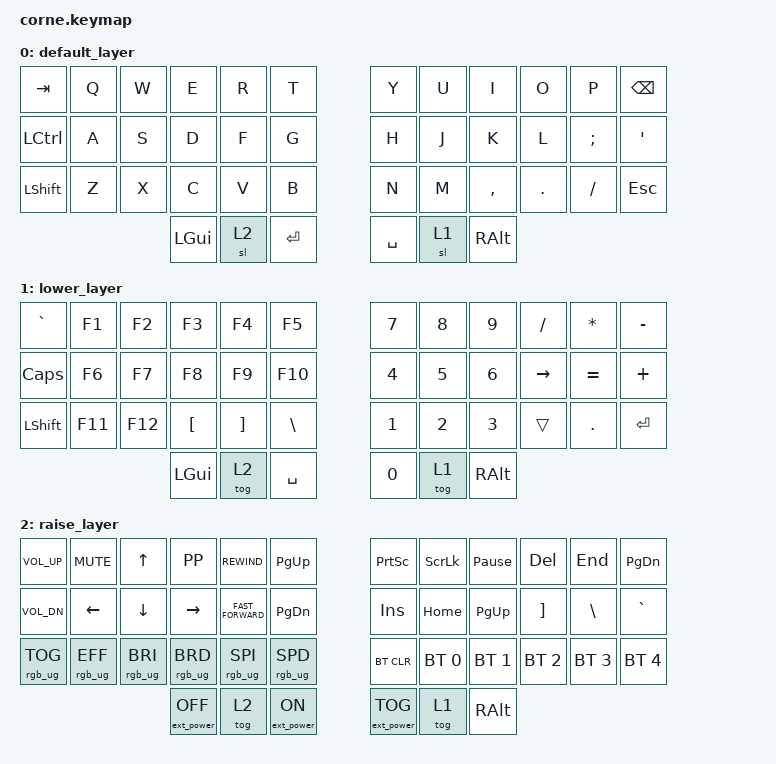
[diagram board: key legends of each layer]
/*
 * Copyright (c) 2020 The ZMK Contributors
 *
 * SPDX-License-Identifier: MIT
 */

#include <behaviors.dtsi>
#include <dt-bindings/zmk/bt.h>
#include <dt-bindings/zmk/ext_power.h>
#include <dt-bindings/zmk/keys.h>
#include <dt-bindings/zmk/rgb.h>

/ {
    behaviors {
        new_behavior: new_behavior {
            compatible = "zmk,behavior-mouse-move";
            label = "NEW_BEHAVIOR";
            #binding-cells = <1>;
            delay-ms = <2>;
            time-to-max-speed-ms = <2>;
            acceleration-exponent = <2>;
        };
    };

    keymap {
        compatible = "zmk,keymap";

        default_layer {
            // -----------------------------------------------------------------------------------------
            // |  TAB |  Q  |  W  |  E  |  R  |  T  |   |  Y  |  U   |  I  |  O  |  P  | BKSP |
            // | CTRL |  A  |  S  |  D  |  F  |  G  |   |  H  |  J   |  K  |  L  |  ;  |  '   |
            // | SHFT |  Z  |  X  |  C  |  V  |  B  |   |  N  |  M   |  ,  |  .  |  /  | ESC  |
            //                    | GUI | LWR | SPC |   | ENT | RSE  | ALT |

            bindings = <
&kp TAB    &kp Q  &kp W  &kp E     &kp R  &kp T        &kp Y      &kp U  &kp I      &kp O    &kp P     &kp BSPC
&kp LCTRL  &kp A  &kp S  &kp D     &kp F  &kp G        &kp H      &kp J  &kp K      &kp L    &kp SEMI  &kp SQT
&kp LSHFT  &kp Z  &kp X  &kp C     &kp V  &kp B        &kp N      &kp M  &kp COMMA  &kp DOT  &kp FSLH  &kp ESC
                         &kp LGUI  &sl 2  &kp ENTER    &kp SPACE  &sl 1  &kp RALT
            >;
        };

        lower_layer {
            // -----------------------------------------------------------------------------------------
            // |  TAB |  1  |  2  |  3  |  4  |  5  |   |  6  |  7  |  8  |  9  |  0  | BKSP |
            // | BTCLR| BT1 | BT2 | BT3 | BT4 | BT5 |   | LFT | DWN |  UP | RGT |     |      |
            // | SHFT |     |     |     |     |     |   |     |     |     |     |     |      |
            //                    | GUI |     | SPC |   | ENT |     | ALT |

            bindings = <
&kp GRAVE     &kp F1   &kp F2   &kp F3            &kp F4             &kp F5           &kp NUMBER_7  &kp NUMBER_8  &kp NUMBER_9  &kp SLASH  &kp ASTERISK  &kp MINUS
&kp CAPSLOCK  &kp F6   &kp F7   &kp F8            &kp F9             &kp F10          &kp NUMBER_4  &kp NUMBER_5  &kp NUMBER_6  &kp RIGHT  &kp EQUAL     &kp PLUS
&kp LSHFT     &kp F11  &kp F12  &kp LEFT_BRACKET  &kp RIGHT_BRACKET  &kp BACKSLASH    &kp NUMBER_1  &kp NUMBER_2  &kp NUMBER_3  &trans     &kp DOT       &kp ENTER
                                &kp LGUI          &tog 2             &kp SPACE        &kp NUMBER_0  &tog 1        &kp RALT
            >;
        };

        raise_layer {
            // -----------------------------------------------------------------------------------------
            // |  TAB |  !  |  @  |  #  |  $  |  %  |   |  ^  |  &  |  *  |  (  |  )  | BKSP |
            // | CTRL |     |     |     |     |     |   |  -  |  =  |  [  |  ]  |  \  |  `   |
            // | SHFT |     |     |     |     |     |   |  _  |  +  |  {  |  }  | "|" |  ~   |
            //                    | GUI |     | SPC |   | ENT |     | ALT |

            bindings = <
&kp C_VOL_UP     &kp K_MUTE       &kp UP_ARROW     &kp K_PP           &kp C_REWIND        &kp PG_UP           &kp PRINTSCREEN    &kp SCROLLLOCK  &kp PAUSE_BREAK  &kp DELETE    &kp END       &kp PG_DN
&kp C_VOL_DN     &kp LEFT         &kp DOWN         &kp RIGHT          &kp C_FAST_FORWARD  &kp PG_DN           &kp INSERT         &kp HOME        &kp PG_UP        &kp RBKT      &kp BSLH      &kp GRAVE
&rgb_ug RGB_TOG  &rgb_ug RGB_EFF  &rgb_ug RGB_BRI  &rgb_ug RGB_BRD    &rgb_ug RGB_SPI     &rgb_ug RGB_SPD     &bt BT_CLR         &bt BT_SEL 0    &bt BT_SEL 1     &bt BT_SEL 2  &bt BT_SEL 3  &bt BT_SEL 4
                                                   &ext_power EP_OFF  &tog 2              &ext_power EP_ON    &ext_power EP_TOG  &tog 1          &kp RALT
            >;
        };
    };
};
